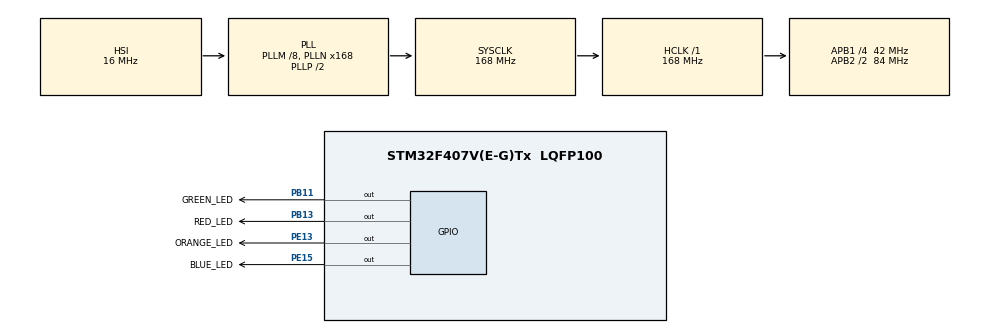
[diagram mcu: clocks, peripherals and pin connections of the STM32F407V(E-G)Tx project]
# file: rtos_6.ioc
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FREERTOS.Tasks01=defaultTask,24,128,StartDefaultTask,Default,NULL,Dynamic,NULL,NULL;GreenLedTask,8,128,FlashGreenLedTask,Default,NULL,Dynamic,NULL,NULL;RedLedTask,8,128,FlashRedLedTask,Default,NULL,Dynamic,NULL,NULL
Mcu.Family=STM32F4
Mcu.Name=STM32F407V(E-G)Tx
Mcu.Package=LQFP100
NVIC.PriorityGroup=NVIC_PRIORITYGROUP_4
NVIC.TIM1_UP_TIM10_IRQn=true\:15\:0\:false\:false\:true\:false\:false\:true\:true
NVIC.TimeBase=TIM1_UP_TIM10_IRQn
NVIC.TimeBaseIP=TIM1
PA13.Mode=Serial_Wire
PA13.Signal=SYS_JTMS-SWDIO
PA14.Mode=Serial_Wire
PA14.Signal=SYS_JTCK-SWCLK
PB11.GPIO_Label=GREEN_LED
PB11.Signal=GPIO_Output
PB13.GPIO_Label=RED_LED
PB13.Signal=GPIO_Output
PE13.GPIO_Label=ORANGE_LED
PE13.Signal=GPIO_Output
PE15.GPIO_Label=BLUE_LED
PE15.Signal=GPIO_Output
ProjectManager.HeapSize=0x200
ProjectManager.StackSize=0x400
ProjectManager.TargetToolchain=STM32CubeIDE
RCC.48MHZClocksFreq_Value=84000000
RCC.AHBFreq_Value=168000000
RCC.APB1CLKDivider=RCC_HCLK_DIV4
RCC.APB1Freq_Value=42000000
RCC.APB1TimFreq_Value=84000000
RCC.APB2CLKDivider=RCC_HCLK_DIV2
RCC.APB2Freq_Value=84000000
RCC.APB2TimFreq_Value=168000000
RCC.CortexFreq_Value=168000000
RCC.HCLKFreq_Value=168000000
RCC.HSE_VALUE=25000000
RCC.HSI_VALUE=16000000
RCC.LSE_VALUE=32768
RCC.PLLM=8
RCC.PLLN=168
RCC.SYSCLKFreq_VALUE=168000000
RCC.SYSCLKSource=RCC_SYSCLKSOURCE_PLLCLK
RCC.VCOOutputFreq_Value=336000000
VP_FREERTOS_VS_CMSIS_V2.Mode=CMSIS_V2
VP_SYS_VS_tim1.Mode=TIM1
board=custom

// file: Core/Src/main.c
/* USER CODE BEGIN Header */
/**
  ******************************************************************************
  * @file           : main.c
  * @brief          : Main program body
  ******************************************************************************
  * @attention
  *
  * Copyright (c) 2024 STMicroelectronics.
  * All rights reserved.
  *
  * This software is licensed under terms that can be found in the LICENSE file
  * in the root directory of this software component.
  * If no LICENSE file comes with this software, it is provided AS-IS.
  *
  ******************************************************************************
  */
/* USER CODE END Header */
#include "main.h"
#include "cmsis_os.h"

/* USER CODE BEGIN PD */
static volatile uint8_t startFlag = 1;  // 1 = Up, 0 = Down
/* USER CODE END PD */

/* Definitions for defaultTask */
osThreadId_t defaultTaskHandle;
const osThreadAttr_t defaultTask_attributes = {
  .name = "defaultTask",
  .stack_size = 128 * 4,
  .priority = (osPriority_t) osPriorityNormal,
};
/* Definitions for GreenLedTask */
osThreadId_t GreenLedTaskHandle;
const osThreadAttr_t GreenLedTask_attributes = {
  .name = "GreenLedTask",
  .stack_size = 128 * 4,
  .priority = (osPriority_t) osPriorityLow,
};
/* Definitions for RedLedTask */
osThreadId_t RedLedTaskHandle;
const osThreadAttr_t RedLedTask_attributes = {
  .name = "RedLedTask",
  .stack_size = 128 * 4,
  .priority = (osPriority_t) osPriorityLow,
};

void SystemClock_Config(void);
static void MX_GPIO_Init(void);
void StartDefaultTask(void *argument);
void FlashGreenLedTask(void *argument);
void FlashRedLedTask(void *argument);

int main(void)
{

  /* MCU Configuration--------------------------------------------------------*/

  /* Reset of all peripherals, Initializes the Flash interface and the Systick. */
  HAL_Init();

  /* Configure the system clock */
  SystemClock_Config();

  /* Initialize all configured peripherals */
  MX_GPIO_Init();
  /* USER CODE BEGIN 2 */
  HAL_GPIO_WritePin(ORANGE_LED_GPIO_Port, ORANGE_LED_Pin, 1);
  HAL_GPIO_WritePin(RED_LED_GPIO_Port, RED_LED_Pin, 1);
  HAL_GPIO_WritePin(GREEN_LED_GPIO_Port, GREEN_LED_Pin, 1);
  HAL_GPIO_WritePin(BLUE_LED_GPIO_Port, BLUE_LED_Pin, 1);

  /* USER CODE END 2 */

  /* Init scheduler */
  osKernelInitialize();

  /* Create the thread(s) */
  /* creation of defaultTask */
  defaultTaskHandle = osThreadNew(StartDefaultTask, NULL, &defaultTask_attributes);

  /* creation of GreenLedTask */
  GreenLedTaskHandle = osThreadNew(FlashGreenLedTask, NULL, &GreenLedTask_attributes);

  /* creation of RedLedTask */
  RedLedTaskHandle = osThreadNew(FlashRedLedTask, NULL, &RedLedTask_attributes);

  /* Start scheduler */
  osKernelStart();

  /* We should never get here as control is now taken by the scheduler */

  /* Infinite loop */
  while (1)
  {

  }
}

void SystemClock_Config(void)
{
  RCC_OscInitTypeDef RCC_OscInitStruct = {0};
  RCC_ClkInitTypeDef RCC_ClkInitStruct = {0};

  /** Configure the main internal regulator output voltage
  */
  __HAL_RCC_PWR_CLK_ENABLE();
  __HAL_PWR_VOLTAGESCALING_CONFIG(PWR_REGULATOR_VOLTAGE_SCALE1);

  /** Initializes the RCC Oscillators according to the specified parameters
  * in the RCC_OscInitTypeDef structure.
  */
  RCC_OscInitStruct.OscillatorType = RCC_OSCILLATORTYPE_HSI;
  RCC_OscInitStruct.HSIState = RCC_HSI_ON;
  RCC_OscInitStruct.HSICalibrationValue = RCC_HSICALIBRATION_DEFAULT;
  RCC_OscInitStruct.PLL.PLLState = RCC_PLL_ON;
  RCC_OscInitStruct.PLL.PLLSource = RCC_PLLSOURCE_HSI;
  RCC_OscInitStruct.PLL.PLLM = 8;
  RCC_OscInitStruct.PLL.PLLN = 168;
  RCC_OscInitStruct.PLL.PLLP = RCC_PLLP_DIV2;
  RCC_OscInitStruct.PLL.PLLQ = 4;
  if (HAL_RCC_OscConfig(&RCC_OscInitStruct) != HAL_OK)
  {
    Error_Handler();
  }

  /** Initializes the CPU, AHB and APB buses clocks
  */
  RCC_ClkInitStruct.ClockType = RCC_CLOCKTYPE_HCLK|RCC_CLOCKTYPE_SYSCLK
                              |RCC_CLOCKTYPE_PCLK1|RCC_CLOCKTYPE_PCLK2;
  RCC_ClkInitStruct.SYSCLKSource = RCC_SYSCLKSOURCE_PLLCLK;
  RCC_ClkInitStruct.AHBCLKDivider = RCC_SYSCLK_DIV1;
  RCC_ClkInitStruct.APB1CLKDivider = RCC_HCLK_DIV4;
  RCC_ClkInitStruct.APB2CLKDivider = RCC_HCLK_DIV2;

  if (HAL_RCC_ClockConfig(&RCC_ClkInitStruct, FLASH_LATENCY_5) != HAL_OK)
  {
    Error_Handler();
  }
}

static void MX_GPIO_Init(void)
{
  GPIO_InitTypeDef GPIO_InitStruct = {0};

  /* GPIO Ports Clock Enable */
  __HAL_RCC_GPIOE_CLK_ENABLE();
  __HAL_RCC_GPIOB_CLK_ENABLE();
  __HAL_RCC_GPIOA_CLK_ENABLE();

  /*Configure GPIO pin Output Level */
  HAL_GPIO_WritePin(GPIOE, ORANGE_LED_Pin|BLUE_LED_Pin, GPIO_PIN_RESET);

  /*Configure GPIO pin Output Level */
  HAL_GPIO_WritePin(GPIOB, GREEN_LED_Pin|RED_LED_Pin, GPIO_PIN_RESET);

  /*Configure GPIO pins : ORANGE_LED_Pin BLUE_LED_Pin */
  GPIO_InitStruct.Pin = ORANGE_LED_Pin|BLUE_LED_Pin;
  GPIO_InitStruct.Mode = GPIO_MODE_OUTPUT_PP;
  GPIO_InitStruct.Pull = GPIO_NOPULL;
  GPIO_InitStruct.Speed = GPIO_SPEED_FREQ_LOW;
  HAL_GPIO_Init(GPIOE, &GPIO_InitStruct);

  /*Configure GPIO pins : GREEN_LED_Pin RED_LED_Pin */
  GPIO_InitStruct.Pin = GREEN_LED_Pin|RED_LED_Pin;
  GPIO_InitStruct.Mode = GPIO_MODE_OUTPUT_PP;
  GPIO_InitStruct.Pull = GPIO_NOPULL;
  GPIO_InitStruct.Speed = GPIO_SPEED_FREQ_LOW;
  HAL_GPIO_Init(GPIOB, &GPIO_InitStruct);

}

/* USER CODE BEGIN 4 */
void AccessSharedData(void)
{
    if (startFlag == 1) {
        HAL_GPIO_WritePin(BLUE_LED_GPIO_Port, BLUE_LED_Pin, GPIO_PIN_SET);
        /* Resource is available */
        startFlag = 0;  // Set flag Down

        /* Simulate read/write operations */
        osDelay(500);  // 500ms delay for operations

        /* Release resource */
        startFlag = 1;  // Set flag Up
    } else if (startFlag == 0){
        /* Resource contention detected - turn on Blue LED */
        HAL_GPIO_WritePin(BLUE_LED_GPIO_Port, BLUE_LED_Pin, GPIO_PIN_RESET);
    }
}
/* USER CODE END 4 */

void StartDefaultTask(void *argument)
{
  for(;;)
  {
    osDelay(1);
  }
}

void FlashGreenLedTask(void *argument)
{
  /* USER CODE BEGIN FlashGreenLedTask */
//	osDelay(osWaitForever);
  /* Infinite loop */
  for(;;)
  {
    HAL_GPIO_WritePin(RED_LED_GPIO_Port, RED_LED_Pin, GPIO_PIN_RESET);

    /* Access shared data */
    taskENTER_CRITICAL();
    AccessSharedData();
    taskEXIT_CRITICAL();
    /* Turn Red LED off */
    HAL_GPIO_WritePin(RED_LED_GPIO_Port, RED_LED_Pin, GPIO_PIN_SET);

    /* Delay for 100ms */
    osDelay(100);
  }
  /* USER CODE END FlashGreenLedTask */
}

void FlashRedLedTask(void *argument)
{
  /* USER CODE BEGIN FlashRedLedTask */
//	osDelay(osWaitForever);
  /* Infinite loop */
  for(;;)
  {
    HAL_GPIO_WritePin(GREEN_LED_GPIO_Port, GREEN_LED_Pin, GPIO_PIN_RESET);
    /* Access shared data */
    taskENTER_CRITICAL();
    AccessSharedData();
    taskEXIT_CRITICAL();
    /* Turn Green LED off */
    HAL_GPIO_WritePin(GREEN_LED_GPIO_Port, GREEN_LED_Pin, GPIO_PIN_SET);

    /* Delay for 500ms */
    osDelay(500);
  }
  /* USER CODE END FlashRedLedTask */
}

void HAL_TIM_PeriodElapsedCallback(TIM_HandleTypeDef *htim)
{
  if (htim->Instance == TIM1) {
    HAL_IncTick();
  }
}

void Error_Handler(void)
{
  __disable_irq();
  while (1)
  {
  }
}
